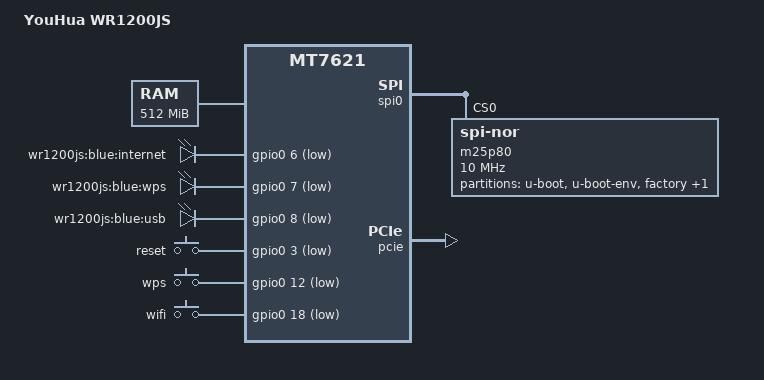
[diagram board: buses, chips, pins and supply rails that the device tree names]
/dts-v1/;

#include "mt7621.dtsi"

#include <dt-bindings/gpio/gpio.h>
#include <dt-bindings/input/input.h>

/ {
	compatible = "youhua,wr1200js", "mediatek,mt7621-soc";
	model = "YouHua WR1200JS";

	memory@0 {
		device_type = "memory";
		reg = <0x0 0x1c000000>, <0x20000000 0x4000000>;
	};

	chosen {
		bootargs = "console=ttyS0,115200";
	};

	gpio-leds {
		compatible = "gpio-leds";

		internet {
			label = "wr1200js:blue:internet";
			gpios = <&gpio0 6 1>;
		};

		wps {
			label = "wr1200js:blue:wps";
			gpios = <&gpio0 7 1>;
		};

		usb {
			label = "wr1200js:blue:usb";
			gpios = <&gpio0 8 1>;
		};
	};


	gpio-keys-polled {
		compatible = "gpio-keys-polled";
		#address-cells = <1>;
		#size-cells = <0>;
		poll-interval = <20>;

		reset {
			label = "reset";
			gpios = <&gpio0 3 1>;
			linux,code = <KEY_RESTART>;
		};

		wps {
			label = "wps";
			gpios = <&gpio0 12 1>;
			linux,code = <KEY_WPS_BUTTON>;
		};

		wifi {
			label = "wifi";
			gpios = <&gpio0 18 1>;
			linux,code = <KEY_RFKILL>;
		};
	};
};

&spi0 {
	status = "okay";

	m25p80@0 {
		#address-cells = <1>;
		#size-cells = <1>;
		compatible = "jedec,spi-nor";
		reg = <0>;
		spi-max-frequency = <10000000>;
		m25p,chunked-io = <32>;

		partition@0 {
			label = "u-boot";
			reg = <0x0 0x30000>;
		};

		partition@30000 {
			label = "u-boot-env";
			reg = <0x30000 0x10000>;
		};

		factory: partition@40000 {
			label = "factory";
			reg = <0x40000 0x10000>;
		};

		partition@50000 {
			label = "firmware";
			reg = <0x50000 0xfb0000>;
		};
	};
};

&pcie {
	status = "okay";

	pcie0 {
		mt76@0,0 {
			reg = <0x0000 0 0 0 0>;
			device_type = "pci";
			mediatek,mtd-eeprom = <&factory 0x0000>;
			ieee80211-freq-limit = <2400000 2500000>;
		};
	};

	pcie1 {
		mt76@1,0 {
			reg = <0x0000 0 0 0 0>;
			device_type = "pci";
			mediatek,mtd-eeprom = <&factory 0x8000>;
			ieee80211-freq-limit = <5000000 6000000>;

			led {
				led-sources = <2>;
				led-active-low;
			};
		};
	};
};

&ethernet {
	mtd-mac-address = <&factory 0xe000>;
};

&pinctrl {
	state_default: pinctrl0 {
		gpio {
			ralink,group = "i2c", "uart2", "uart3", "wdt";
			ralink,function = "gpio";
		};
	};
};

